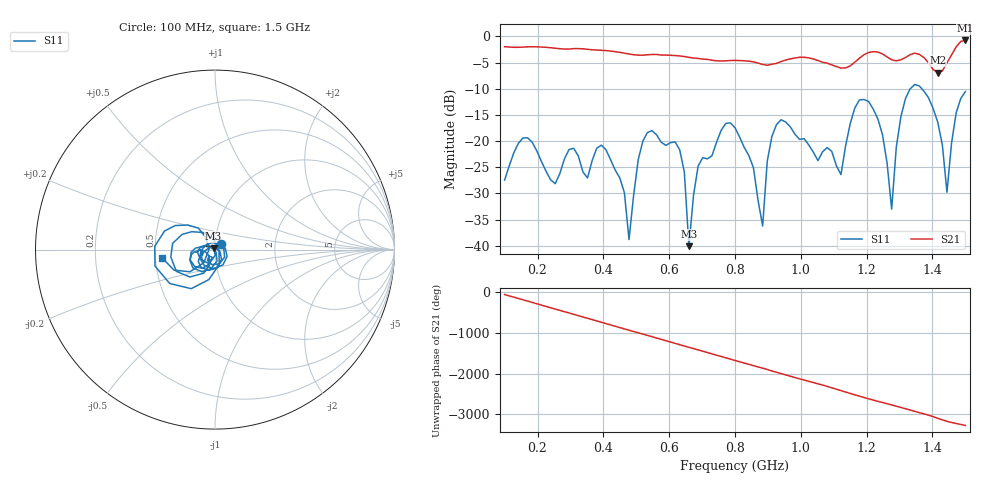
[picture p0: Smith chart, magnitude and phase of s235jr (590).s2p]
! NanoVNA-App
! Date: 2025-09-25 15:08:45
! Start: 100MHz Stop: 1,5GHz Points: 101
! S-Parameter data: F S11 S21 S12 S22
# Hz S RI R 50
!  Frequency  S11_Real  S11_Imag  S21_Real  S21_Imag  S12_Real  S12_Imag  S22_Real  S22_Imag
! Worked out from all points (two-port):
!   101 points, 100 MHz to 1.5 GHz, reference 50 ohm
!   highest |S21| = -0.78 dB at 1.5 GHz (marker M1); lowest = -6.9 dB at 1.416 GHz (marker M2)
!   |S21| within 3 dB of the highest: start of sweep to 636.6 MHz; 1.186 GHz to 1.258 GHz (72.24 MHz wide, 5.91 % of centre) (the widest 2 of 4)
!   lowest |S11| = -40.1 dB at 660 MHz (marker M3), VSWR 1.02, Z = 49.2 + j0.626 ohm
!   |S11| at or under -10 dB: start of sweep to 1.333 GHz; 1.368 GHz to end of sweep
!   S12 and S22 are empty: the file has one direction only
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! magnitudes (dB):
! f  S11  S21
! 100 MHz  -27.5  -2.0
! 156 MHz  -19.4  -2.0
! 338 MHz  -25.9  -2.4
! 408 MHz  -21.7  -2.7
! 478 MHz  -38.8  -3.4
! 520 MHz  -20.0  -3.6
! 576 MHz  -20.2  -3.6
! 632 MHz  -21.7  -3.7
! 660 MHz  -40.1  -4.0
! 688 MHz  -24.8  -4.2
! 800 MHz  -17.5  -4.6
! 884 MHz  -36.2  -5.4
! 926 MHz  -16.9  -5.2
! 1.038 GHz  -22.1  -4.3
! 1.122 GHz  -26.4  -6.0
! 1.206 GHz  -12.4  -3.1
! 1.276 GHz  -33.0  -4.5
! 1.304 GHz  -15.3  -4.5
! 1.332 GHz  -10.0  -3.5
! 1.416 GHz  -16.4  -6.9
! 1.444 GHz  -29.8  -5.0
! 1.5 GHz  -10.5  -0.8
